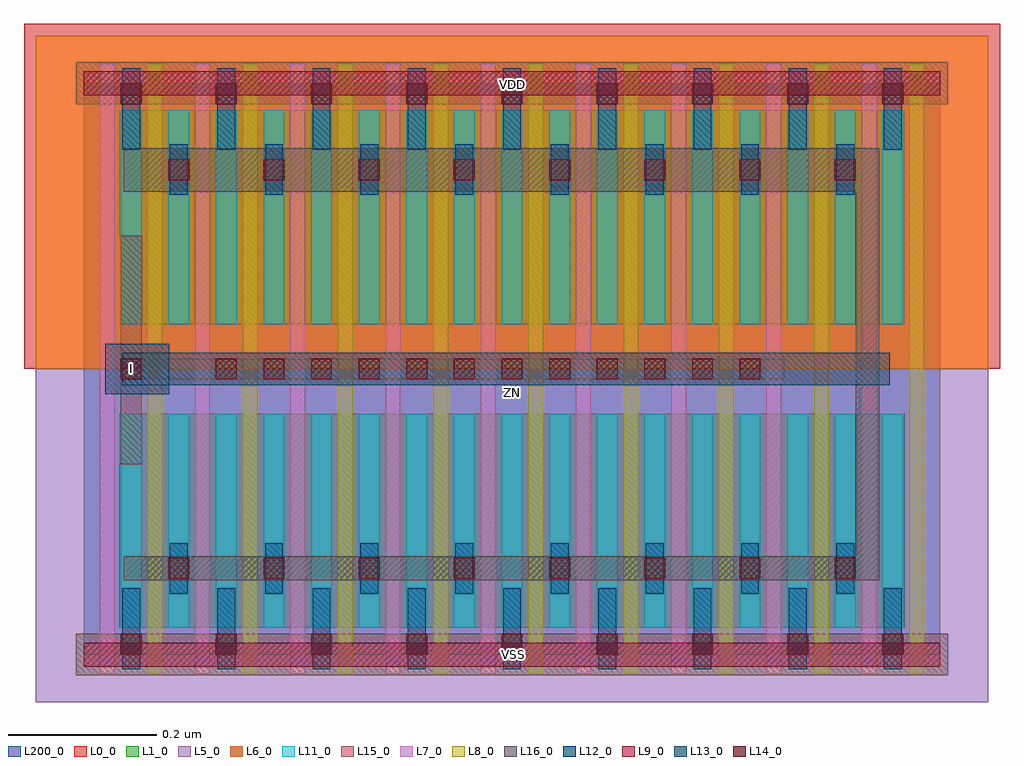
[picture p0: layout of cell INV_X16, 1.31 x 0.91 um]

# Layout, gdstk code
import gdstk
lib = gdstk.Library(unit=1e-6, precision=1e-09)
def R(c, l, rs):  # rectangles x0, y0, x1, y1
    for r in rs: c.add(gdstk.rectangle(r[:2], r[2:], *l))
def A(c, l, x, y, w, h, nx, ny, dx, dy):  # array of equal rectangles
    R(c, l, [(x+i*dx, y+j*dy, x+i*dx+w, y+j*dy+h) for i in range(nx) for j in range(ny)])
def P(c, l, *ps):  # polygons
    for p in ps: c.add(gdstk.Polygon(p, *l))
L0_0 = (0, 0)
L1_0 = (1, 0)
L5_0 = (5, 0)
L6_0 = (6, 0)
L7_0 = (7, 0)
L8_0 = (8, 0)
L9_0 = (9, 0)
L11_0 = (11, 0)
L12_0 = (12, 0)
L13_0 = (13, 0)
L14_0 = (14, 0)
L15_0 = (15, 0)
L16_0 = (16, 0)
L200_0 = (200, 0)

inv_x16 = lib.new_cell('INV_X16')
R(inv_x16, L0_0, [(-0.08,0.384,1.232,0.848)])
R(inv_x16, L1_0, [(0.048,0.036,1.104,0.324), (0.048,0.444,1.104,0.732)])
R(inv_x16, L5_0, [(-0.064,-0.064,1.216,0.384)])
R(inv_x16, L6_0, [(-0.064,0.384,1.216,0.832)])
A(inv_x16, L7_0, 0.022, -0.026, 0.02, 0.82, 9, 1, 0.128, 0)
A(inv_x16, L8_0, 0.086, -0.026, 0.02, 0.82, 9, 1, 0.128, 0)
R(inv_x16, L9_0, [(0,-0.016,1.152,0.016), (0,0.752,1.152,0.784)])
A(inv_x16, L11_0, 0.05, 0.036, 0.028, 0.288, 17, 2, 0.064, 0.408)
A(inv_x16, L12_0, 0.052, -0.02, 0.024, 0.109, 9, 2, 0.128, 0.699)
A(inv_x16, L12_0, 0.116, 0.082, 0.024, 0.068, 8, 2, 0.128, 0.536)
R(inv_x16, L12_0, [(0.029,0.35,0.115,0.418)])
R(inv_x16, L13_0, [(0.052,0.362,1.084,0.406)])
A(inv_x16, L14_0, 0.05, 0, 0.028, 0.028, 9, 2, 0.128, 0.74)
A(inv_x16, L14_0, 0.114, 0.102, 0.028, 0.028, 8, 2, 0.128, 0.536)
A(inv_x16, L14_0, 0.178, 0.37, 0.028, 0.028, 12, 1, 0.064, 0)
R(inv_x16, L14_0, [(0.05,0.37,0.078,0.398)])
R(inv_x16, L15_0, [(-0.01,-0.028,1.162,0.028), (-0.01,0.74,1.162,0.796)])
P(inv_x16, L15_0, [(0.05,0.256),(0.078,0.256),(0.078,0.37),(0.942,0.37),(0.942,0.398),(0.078,0.398),(0.078,0.563),(0.05,0.563)])
P(inv_x16, L16_0, [(0.054,0.622),(1.038,0.622),(1.038,0.132),(0.054,0.132),(0.054,0.1),(1.07,0.1),(1.07,0.681),(0.054,0.681)])
R(inv_x16, L200_0, [(0,0,1.152,0.768)])
inv_x16.add(gdstk.Label('VSS', (0.578,0), layer=15, texttype=20))
inv_x16.add(gdstk.Label('I', (0.064,0.384), layer=15, texttype=20))
inv_x16.add(gdstk.Label('VDD', (0.577,0.767), layer=15, texttype=20))
inv_x16.add(gdstk.Label('ZN', (0.576,0.352), layer=16, texttype=20))

lib.write_gds('INV_X16.gds')
